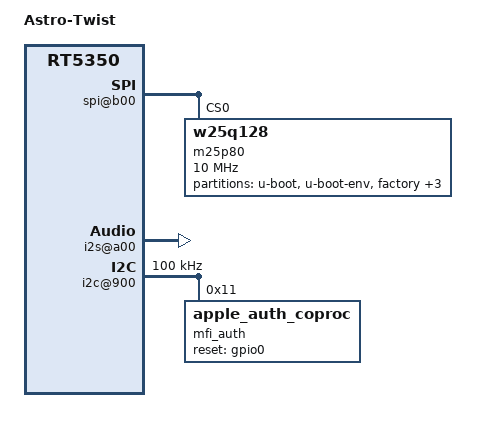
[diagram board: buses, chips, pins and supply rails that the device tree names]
/dts-v1/;

/include/ "rt5350.dtsi"

/ {
	compatible = "RT5350F-OLINUXINO", "ralink,rt5350-soc";
	model = "Astro-Twist";
	
	palmbus@10000000 {
		spi@b00 {
			status = "okay";
			m25p80@0 {
				#address-cells = <1>;
				#size-cells = <1>;
				compatible = "w25q128";
				reg = <0 0>;
				linux,modalias = "w25q128";
				spi-max-frequency = <10000000>;

				partition@0 {
					label = "u-boot";
					reg = <0x0 0x30000>;
				};

				partition@30000 {
					label = "u-boot-env";
					reg = <0x30000 0x10000>;
				};

				factory: partition@40000 {
					label = "factory";
					reg = <0x40000 0x10000>;
				};

				partition@50000 {
					label = "nvram";
					reg = <0x50000 0x50000>;
				};
				
				partition@A0000 {
					label = "firmware";
					reg = <0xA0000 0x7b0000>;
					read-only;
				};
				
				partition@850000 {
					label = "firmware-alt";
					reg = <0x850000 0x7b0000>;
				};
			};
		};
		gpio1: gpio@660 {
			status = "okay";
		};
		
		i2s@a00 {
			status = "okay";
		};
		
		dma@2800 {
			status = "okay";
		};
		
		i2c@900 {
			status = "okay";
			clock-frequency = <100000>;

			mfi_auth: i2c@11 {
				compatible = "apple_auth_coproc";
				reg = <0x11>;
				    
				gpio-reset = <&gpio0>;
			};
		};
	};

	pinctrl {
		state_default: pinctrl0 {
			gpio {
				ralink,group = "led", "spi_cs1";
				ralink,function = "gpio";
			};
		};
	};

	ethernet@10100000 {
		mtd-mac-address = <&factory 0x4>;
		status = "disabled";
	};

	esw@10110000 {
		mediatek,portmap = <0x2f>;
		mediatek,led_polarity = <0x17>;
		status = "disabled";
	};

	wmac@10180000 {
		ralink,mtd-eeprom = <&factory 0>;
		ralink,led-polarity = <1>;
	};

	ehci@101c0000 {
		status = "disabled";
	};

	ohci@101c1000 {
		status = "disabled";
    };
};
